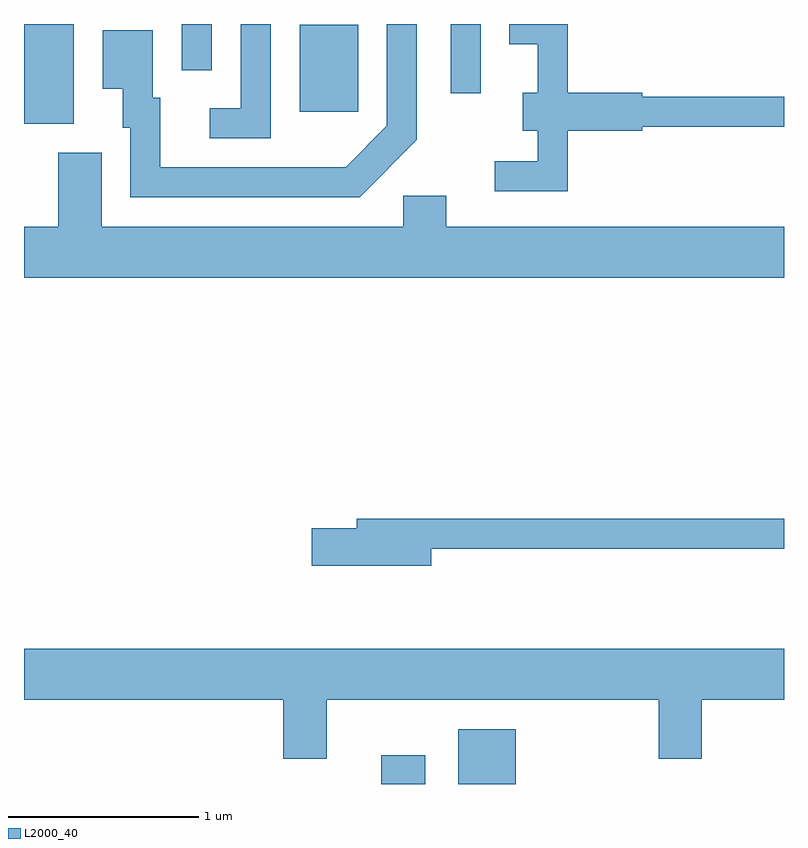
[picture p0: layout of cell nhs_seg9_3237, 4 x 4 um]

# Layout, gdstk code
import gdstk
lib = gdstk.Library(unit=1e-6, precision=1e-09)
def R(c, l, rs):  # rectangles x0, y0, x1, y1
    for r in rs: c.add(gdstk.rectangle(r[:2], r[2:], *l))
def P(c, l, *ps):  # polygons
    for p in ps: c.add(gdstk.Polygon(p, *l))
L2000_40 = (2000, 40)

nhs_seg9_3237 = lib.new_cell('nhs_seg9_3237')
R(nhs_seg9_3237, L2000_40, [(281.491,2042.432,281.724,2042.584), (281.896,2042.432,282.199,2042.719), (279.611,2045.906,279.874,2046.432), (281.061,2045.971,281.369,2046.429), (281.856,2046.068,282.014,2046.432), (280.441,2046.188,280.599,2046.432)])
P(nhs_seg9_3237, L2000_40, [(281.679,2045.824),(281.679,2046.432),(281.521,2046.432),(281.521,2045.897),(281.304,2045.679),(280.329,2045.679),(280.329,2046.044),(280.289,2046.044),(280.289,2046.399),(280.026,2046.399),(280.026,2046.091),(280.131,2046.091),(280.131,2045.886),(280.171,2045.886),(280.171,2045.521),(281.377,2045.521)],
  [(282.474,2045.871),(282.864,2045.871),(282.864,2045.891),(283.611,2045.891),(283.611,2046.049),(282.864,2046.049),(282.864,2046.069),(282.474,2046.069),(282.474,2046.432),(282.166,2046.432),(282.166,2046.326),(282.316,2046.326),(282.316,2046.069),(282.236,2046.069),(282.236,2045.871),(282.316,2045.871),(282.316,2045.709),(282.088,2045.709),(282.088,2045.551),(282.474,2045.551)],
  [(280.909,2046.432),(280.751,2046.432),(280.751,2045.989),(280.588,2045.989),(280.588,2045.831),(280.909,2045.831)],
  [(283.611,2045.364),(281.834,2045.364),(281.834,2045.529),(281.606,2045.529),(281.606,2045.364),(280.019,2045.364),(280.019,2045.754),(279.791,2045.754),(279.791,2045.364),(279.611,2045.364),(279.611,2045.096),(283.611,2045.096)],
  [(281.754,2043.671),(283.611,2043.671),(283.611,2043.829),(281.361,2043.829),(281.361,2043.779),(281.126,2043.779),(281.126,2043.581),(281.754,2043.581)],
  [(281.204,2042.876),(282.951,2042.876),(282.951,2042.566),(283.179,2042.566),(283.179,2042.876),(283.611,2042.876),(283.611,2043.144),(279.611,2043.144),(279.611,2042.876),(280.976,2042.876),(280.976,2042.566),(281.204,2042.566)])

lib.write_gds('nhs_seg9_3237.gds')
